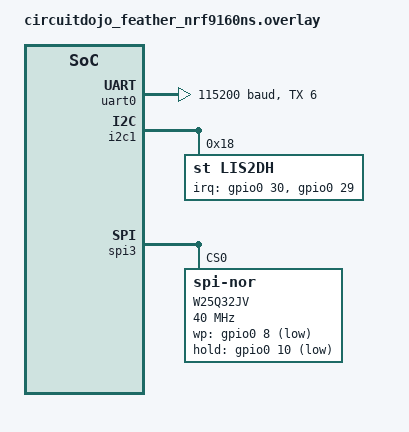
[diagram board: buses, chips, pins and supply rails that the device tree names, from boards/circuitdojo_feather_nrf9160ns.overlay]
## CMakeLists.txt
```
# SPDX-License-Identifier: Apache-2.0

cmake_minimum_required(VERSION 3.20.0)

find_package(Git QUIET)
if(GIT_FOUND)
  execute_process(
    COMMAND git describe --tags --long
    WORKING_DIRECTORY                ${CMAKE_CURRENT_SOURCE_DIR}
    OUTPUT_VARIABLE                  version
    OUTPUT_STRIP_TRAILING_WHITESPACE
    ERROR_STRIP_TRAILING_WHITESPACE
    ERROR_VARIABLE                   stderr
    RESULT_VARIABLE                  return_code
  )
  if(return_code)
    message(STATUS "git describe failed: ${return_code}")
  elseif(CMAKE_VERBOSE_MAKEFILE)
    message(STATUS "git describe stderr: ${stderr}")
  endif()
endif()

if(version)
  # Create version.conf
  file(WRITE version.conf "CONFIG_APP_VERSION=\"${version}\"\n")
  message(STATUS "Version: ${version}")
endif()


# Load NCS/Zephyr build system
set(CONF_FILE prj.conf)

if (EXISTS ${CMAKE_CURRENT_SOURCE_DIR}/boards/${BOARD}.conf)
  list(APPEND CONF_FILE boards/${BOARD}.conf)
endif()

# TODO: change to EXTRA_CONF_FILE >= Zephyr 3.4
if (EXISTS ${CMAKE_CURRENT_SOURCE_DIR}/version.conf)
  list(APPEND CONF_FILE version.conf)
endif()

find_package(Zephyr REQUIRED HINTS $ENV{ZEPHYR_BASE})
project(tracker)

target_sources(app PRIVATE src/main.c)

# Application directories
add_subdirectory(src/backend)
add_subdirectory(src/battery)
add_subdirectory(src/codec)
add_subdirectory(src/event_manager)
add_subdirectory(src/gps)
add_subdirectory(src/modem)
add_subdirectory(src/motion)
add_subdirectory(src/shell)
add_subdirectory(src/storage)
```

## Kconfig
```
config DISABLE_CONSOLE_ON_BOOT
	bool "Disable console on start for power savings"
	default n

rsource "src/gps/Kconfig"
rsource "src/shell/Kconfig"
rsource "src/version/Kconfig"

source "Kconfig.zephyr"
```

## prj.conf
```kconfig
# General config
CONFIG_ASSERT=y

# Logging & Console
CONFIG_CONSOLE=y
CONFIG_LOG=y

# Network
CONFIG_NETWORKING=y
CONFIG_NET_NATIVE=n
CONFIG_NET_SOCKETS=y

# LTE link control
CONFIG_LTE_LINK_CONTROL=y
CONFIG_LTE_NETWORK_MODE_LTE_M_NBIOT_GPS=y

# PSM & eDRX enable
CONFIG_LTE_EDRX_REQ=y
CONFIG_LTE_PSM_REQ=y
CONFIG_LTE_PSM_REQ_RPTAU="00000001" # 10 min
CONFIG_LTE_PSM_REQ_RAT="00000011" # 6 sec active time
CONFIG_LTE_LC_TAU_PRE_WARNING_NOTIFICATIONS=y
CONFIG_LTE_LC_TAU_PRE_WARNING_THRESHOLD_MS=60000
CONFIG_LTE_LC_MODEM_SLEEP_NOTIFICATIONS=y
CONFIG_LTE_LC_MODEM_SLEEP_NOTIFICATIONS_THRESHOLD_MS=60000

# Modem library
CONFIG_NRF_MODEM_LIB=y
CONFIG_NRF_MODEM_LIB_TRACE=n

# Golioth
CONFIG_GOLIOTH=y
CONFIG_GOLIOTH_SETTINGS=y
CONFIG_GOLIOTH_SYSTEM_CLIENT=y
CONFIG_GOLIOTH_SYSTEM_CLIENT_RX_TIMEOUT_SEC=660
CONFIG_GOLIOTH_SYSTEM_CLIENT_PING_INTERVAL_SEC=600
CONFIG_GOLIOTH_CIPHERSUITES="TLS_PSK_WITH_AES_128_CBC_SHA256"

# Disable options y-selected by NCS for no good reason
CONFIG_MBEDTLS_KEY_EXCHANGE_DHE_PSK_ENABLED=n
CONFIG_MBEDTLS_KEY_EXCHANGE_DHE_RSA_ENABLED=n

# Shell
CONFIG_SHELL=y
CONFIG_SHELL_WILDCARD=n
CONFIG_SHELL_AT_CMD=y

# Enable flash
CONFIG_FLASH=y
CONFIG_FLASH_MAP=y
CONFIG_FLASH_PAGE_LAYOUT=y

# Enable bootloader
CONFIG_BOOTLOADER_MCUBOOT=y
CONFIG_IMG_MANAGER=y
CONFIG_STREAM_FLASH=y
CONFIG_MCUBOOT_IMG_MANAGER=y
CONFIG_IMG_ERASE_PROGRESSIVELY=y

# Stacks and heaps
CONFIG_MAIN_STACK_SIZE=3072
CONFIG_HEAP_MEM_POOL_SIZE=4096

# Power management
CONFIG_PM_DEVICE=y

# Date time
CONFIG_DATE_TIME=y

# Cbor
CONFIG_ZCBOR=y

# Settings
CONFIG_SETTINGS=y
CONFIG_SETTINGS_RUNTIME=y

# Modem information
CONFIG_MODEM_INFO=y

# Enable ADC
CONFIG_ADC=y

# SUPL
# CONFIG_SUPL_CLIENT_LIB=y
```

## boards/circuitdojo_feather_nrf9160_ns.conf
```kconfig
#
# Copyright (c) 2021 Circuit Dojo, Inc.
#
# SPDX-License-Identifier: LicenseRef-Circuit-Dojo-5-Clause

# SPI Flash
CONFIG_SPI=y
CONFIG_SPI_NOR=y
CONFIG_SPI_NOR_FLASH_LAYOUT_PAGE_SIZE=4096

# Settings using NOR flash
CONFIG_SETTINGS_FILE=y
CONFIG_SETTINGS_FILE_PATH="/lfs/settings/run"

# GPS Antenna configuration
CONFIG_MODEM_ANTENNA=y
CONFIG_MODEM_ANTENNA_AT_COEX0="AT\%XCOEX0=1,1,1565,1586"

# Adding I2C
CONFIG_I2C=y

# Add the accelerometer
CONFIG_SENSOR=y
CONFIG_LIS2DH=y
CONFIG_LIS2DH_TRIGGER_GLOBAL_THREAD=y
CONFIG_LIS2DH_OPER_MODE_LOW_POWER=y

# Do not use external flash for secondary
CONFIG_PM_EXTERNAL_FLASH_MCUBOOT_SECONDARY=n
CONFIG_PM_PARTITION_REGION_LITTLEFS_EXTERNAL=y
CONFIG_PM_PARTITION_SIZE_LITTLEFS=0x400000
CONFIG_PM_OVERRIDE_EXTERNAL_DRIVER_CHECK=y
```

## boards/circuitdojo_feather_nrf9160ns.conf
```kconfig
#
# Copyright (c) 2021 Circuit Dojo, Inc.
#
# SPDX-License-Identifier: Apache-2.0

# SPI Flash
CONFIG_SPI=y
CONFIG_SPI_NOR=y
CONFIG_SPI_NOR_FLASH_LAYOUT_PAGE_SIZE=4096

# COEX0 is used to enable the GPS power supply, but it has to be configured to do so.
CONFIG_NRF9160_GPS=y
CONFIG_NRF9160_GPS_SET_COEX0=y
CONFIG_NRF9160_GPS_ANTENNA_EXTERNAL=y
CONFIG_NRF9160_GPS_COEX0_STRING="AT%XCOEX0=1,1,1565,1586"
```

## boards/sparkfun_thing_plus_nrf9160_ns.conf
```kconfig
# GPS Antenna configuration
CONFIG_MODEM_ANTENNA=y
CONFIG_MODEM_ANTENNA_AT_COEX0="AT\%XCOEX0=1,1,1565,1586"

# Adding I2C
CONFIG_I2C=y

# Add the accelerometer
CONFIG_SENSOR=y
CONFIG_LIS2DH=y
CONFIG_LIS2DH_TRIGGER_GLOBAL_THREAD=y
CONFIG_LIS2DH_OPER_MODE_LOW_POWER=y

# Enable SPI NOR
CONFIG_SPI=y
CONFIG_SPI_NOR=y
CONFIG_SPI_NOR_FLASH_LAYOUT_PAGE_SIZE=4096

# Filesystem
CONFIG_FILE_SYSTEM=y
CONFIG_FILE_SYSTEM_LITTLEFS=y

# Settings using NOR flash
CONFIG_SETTINGS_FILE=y
CONFIG_SETTINGS_FILE_PATH="/lfs/settings/run"

# Do not use external flash for secondary
CONFIG_PM_EXTERNAL_FLASH_MCUBOOT_SECONDARY=n
CONFIG_PM_PARTITION_REGION_LITTLEFS_EXTERNAL=y
CONFIG_PM_PARTITION_SIZE_LITTLEFS=0x400000
CONFIG_PM_OVERRIDE_EXTERNAL_DRIVER_CHECK=y
```

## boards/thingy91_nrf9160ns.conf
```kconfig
#
# Copyright (c) 2021 Nordic Semiconductor ASA
#
# SPDX-License-Identifier: LicenseRef-Nordic-5-Clause
#

# Configuration file for Thingy:91.
# This file is merged with prj.conf in the application folder, and options
# set here will take precedence if they are present in both files.

# Configuration related to external sensors.
CONFIG_SENSOR=y
CONFIG_SPI=y

# ADXL362 - Accelerometer
CONFIG_ADXL362=y
CONFIG_ADXL362_TRIGGER_GLOBAL_THREAD=y
CONFIG_ADXL362_INTERRUPT_MODE=1
CONFIG_ADXL362_ABS_REF_MODE=1
CONFIG_ADXL362_ACCEL_RANGE_2G=y
CONFIG_ADXL362_ACCEL_ODR_12_5=y

# BME680 - Temperature and humidity sensor.
CONFIG_BME680=y

# Settings 
CONFIG_SETTINGS_FCB=y
CONFIG_FCB=y
```

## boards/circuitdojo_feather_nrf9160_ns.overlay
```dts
/ {

    chosen {
        nordic,pm-ext-flash = &w25q32jv;
    };

    leds {
        compatible = "gpio-leds";
        blue_led: led_0 {
            gpios = <&gpio0 3 GPIO_ACTIVE_HIGH>;
            label = "Blue LED (D7)";
        };
    };
};

&gpio0 {
	sense-edge-mask = <0xffff>;
};

&i2c1 {
	lis2dh@18 {
		compatible = "st,lis2dh";
		reg = <0x18>;
		irq-gpios = <&gpio0 29 GPIO_ACTIVE_HIGH>, <&gpio0 30 GPIO_ACTIVE_HIGH>;
		disconnect-sdo-sa0-pull-up;
	};
};
```

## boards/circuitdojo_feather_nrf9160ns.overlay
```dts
/*
 * Copyright (c) 2020 Circuit Dojo LLC
 *
 * SPDX-License-Identifier: Apache-2.0
 */

/ {
	aliases {
		accelerometer = &lis2dh;
	};
};

&uart0 {
	status = "okay";
	current-speed = <115200>;
	tx-pin = <6>;
	/delete-property/ rx-pin;
};

&i2c1 {
	lis2dh: lis2dh@18 {
		compatible = "st,lis2dh";
		label = "LIS2DH";
		reg = <0x18>;
		irq-gpios = <&gpio0 30 GPIO_ACTIVE_HIGH>, <&gpio0 29 GPIO_ACTIVE_HIGH>;
		disconnect-sdo-sa0-pull-up;
	};
};

&spi3 {
    /delete-node/ w25q16jv@0;

    w25q32jv: w25q32jv@0 {
        compatible = "jedec,spi-nor";
        label = "W25Q32JV";
        reg = <0>;
        spi-max-frequency = <40000000>;
        wp-gpios = <&gpio0 8 GPIO_ACTIVE_LOW>;
        hold-gpios = <&gpio0 10 GPIO_ACTIVE_LOW>;
        size = <0x2000000>;
        has-dpd;
        t-enter-dpd = <3000>;
        t-exit-dpd = <30000>;
        jedec-id = [ ef 40 16  ];
    };
};
```

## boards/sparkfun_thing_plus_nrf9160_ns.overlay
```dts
/* Adding sensors */

/ {
	psctl: psctl {
		compatible = "circuitdojo,psctl";
		mode-gpios = <&gpio0 13 GPIO_ACTIVE_LOW>;
	};

	chosen {
		nordic,pm-ext-flash = &w25q32jv;
	};
};

&gpio0 {
	sense-edge-mask = <0xffff>;
};

&i2c1 {
	lis2dh: lis2dh@18 {
		compatible = "st,lis2dh";
		reg = <0x18>;
		irq-gpios = <&gpio0 30 GPIO_ACTIVE_HIGH>, <&gpio0 29 GPIO_ACTIVE_HIGH>;
		disconnect-sdo-sa0-pull-up;
	};
};
```

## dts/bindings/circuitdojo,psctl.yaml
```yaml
#
# Copyright (c) 2021 Circuit Dojo LLC
#
# SPDX-License-Identifier: LicenseRef-Circuit-Dojo-5-Clause
#

description: Circuit Dojo - Power Supply Control - Device Tree Definition

compatible: "circuitdojo,psctl"

properties:
    mode-gpios:
      type: phandle-array
      required: false
      description: |
        Mode swith between PWM and PWM/PFM mode.
```

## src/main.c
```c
/*
 * Copyright Circuit Dojo (c) 2023
 *
 * SPDX-License-Identifier: Apache-2.0
 */

#include <zephyr/drivers/gpio.h>
#include <zephyr/pm/device.h>
#include <zephyr/logging/log.h>
LOG_MODULE_REGISTER(app);

/* nRF Libraries */
#include <modem/lte_lc.h>
#include <modem/modem_info.h>
#include <modem/nrf_modem_lib.h>

/* Local */
#include <app_backend.h>
#include <app_gps.h>

int main(void)
{
	int err;

	LOG_INF("Starting tracker on %s!", CONFIG_BOARD);

	/* Init modem library */
	err = nrf_modem_lib_init();
	if (err < 0)
		__ASSERT_MSG_INFO("Unable to initialize modem lib. (err: %i)", err);

#if IS_ENABLED(CONFIG_DISABLE_CONSOLE_ON_BOOT)

	/* MD button setup  */
	const struct gpio_dt_spec button =
		GPIO_DT_SPEC_GET_BY_IDX(DT_ALIAS(sw0), gpios, 0);

	/* Init button */
	gpio_pin_configure_dt(&button, GPIO_INPUT);

	/* Check button */
	k_sleep(K_SECONDS(2));

	/* Check if button is being pressed to remain active */
	if (!gpio_pin_get_dt(&button))
	{
		static const struct device *const console_dev =
			DEVICE_DT_GET(DT_CHOSEN(zephyr_console));

		/* Disable console UART */
		err = pm_device_action_run(console_dev, PM_DEVICE_ACTION_SUSPEND);
		if (err)
		{
			LOG_ERR("Unable to suspend console UART. (err: %d)", err);
			return err;
		}
	}
#endif

	err = lte_lc_init();
	if (err < 0)
		__ASSERT_MSG_INFO("LTE init failed. (err: %i)", err);

	/* Power saving is turned on */
	err = lte_lc_psm_req(true);
	if (err < 0)
		__ASSERT_MSG_INFO("PSM request failed. (err: %i)", err);

	/* Edrx is turned on */
	err = lte_lc_edrx_req(true);
	if (err < 0)
		__ASSERT_MSG_INFO("eDRX request failed. (err: %i)", err);

	/* Connect to LTE */
	err = lte_lc_connect();
	if (err < 0)
		__ASSERT_MSG_INFO("LTE connect failed. (err: %i)", err);

	/* Set up modem info */
	err = modem_info_init();
	if (err < 0)
		__ASSERT_MSG_INFO("Unable to initialize modem info. (err: %i)", err);

	/* Get the IMEI (used for client ID)*/
	char imei[20] = {0};
	err = modem_info_string_get(MODEM_INFO_IMEI, imei, sizeof(imei));
	if (err < 0)
	{
		__ASSERT_MSG_INFO("Unable to get IMEI. Err: %i", err);
	}
	else
	{
		imei[15] = '\0';
	}

	LOG_INF("IMEI: %s", (char *)(imei));

	/* Init backend */
	err = app_backend_init(imei, strlen(imei));
	if (err < 0)
		__ASSERT_MSG_INFO("Unable to initialize backend. (err: %i)", err);

	/* Setup gps */
	err = app_gps_setup();
	if (err < 0)
		__ASSERT_MSG_INFO("Unable to setup GPS. Err: %i", err);

	return 0;
}
```
